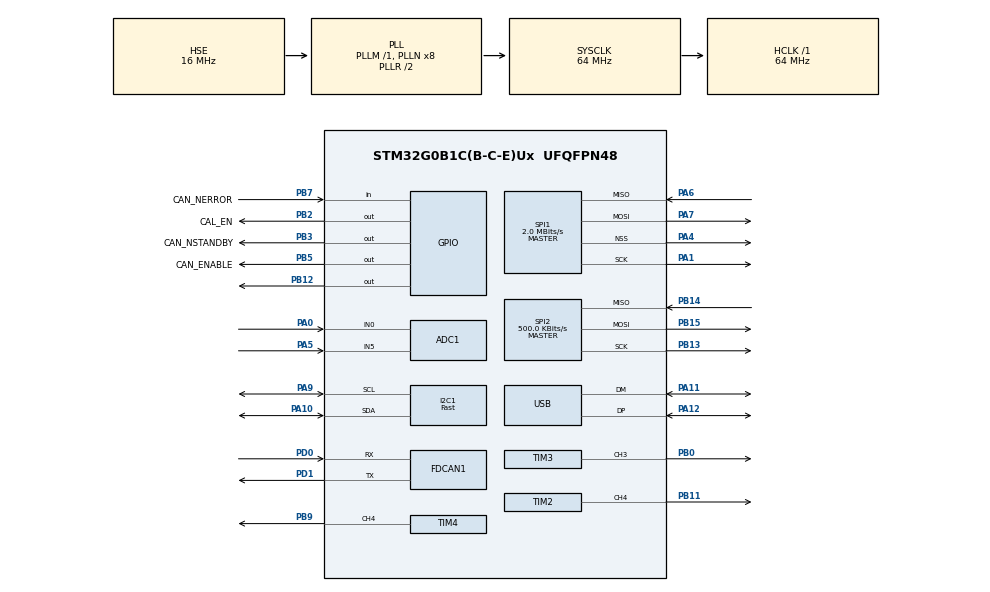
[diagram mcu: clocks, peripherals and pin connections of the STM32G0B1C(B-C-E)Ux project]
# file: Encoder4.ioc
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ADC1.Channel-0\#ChannelRegularConversion=ADC_CHANNEL_0
ADC1.ContinuousConvMode=ENABLE
ADC1.NbrOfConversionFlag=1
ADC1.Rank-0\#ChannelRegularConversion=1
ADC1.SamplingTime-0\#ChannelRegularConversion=ADC_SAMPLINGTIME_COMMON_1
ADC1.SelectedChannel=ADC_CHANNEL_0|ADC_CHANNEL_5
ADC1.master=1
FDCAN1.AutoRetransmission=ENABLE
FDCAN1.CalculateBaudRateNominal=1000000
FDCAN1.CalculateTimeBitNominal=1000
FDCAN1.CalculateTimeQuantumNominal=15.625
FDCAN1.ClockDivider=FDCAN_CLOCK_DIV1
FDCAN1.DataPrescaler=1
FDCAN1.DataTimeSeg1=32
FDCAN1.DataTimeSeg2=3
FDCAN1.ExtFiltersNbr=2
FDCAN1.FrameFormat=FDCAN_FRAME_CLASSIC
FDCAN1.Mode=FDCAN_MODE_NORMAL
FDCAN1.NominalPrescaler=1
FDCAN1.NominalSyncJumpWidth=31
FDCAN1.NominalTimeSeg1=54
FDCAN1.NominalTimeSeg2=9
FDCAN1.StdFiltersNbr=0
I2C1.I2C_Speed_Mode=I2C_Fast
I2C1.Timing=0x00C12166
Mcu.Family=STM32G0
Mcu.Name=STM32G0B1C(B-C-E)Ux
Mcu.Package=UFQFPN48
NVIC.TIM16_FDCAN_IT0_IRQn=true\:0\:0\:false\:false\:true\:true\:true\:true
PA0.Mode=IN0
PA0.Signal=ADC1_IN0
PA1.Mode=Full_Duplex_Master
PA1.Signal=SPI1_SCK
PA10.Mode=I2C
PA10.Signal=I2C1_SDA
PA11\ [PA9].Mode=Device
PA11\ [PA9].Signal=USB_DM
PA12\ [PA10].Mode=Device
PA12\ [PA10].Signal=USB_DP
PA13.Mode=Serial_Wire
PA13.Signal=SYS_SWDIO
PA14-BOOT0.Mode=Serial_Wire
PA14-BOOT0.Signal=SYS_SWCLK
PA4.Mode=NSS_Signal_Hard_Output
PA4.Signal=SPI1_NSS
PA5.Mode=IN5
PA5.Signal=ADC1_IN5
PA6.Mode=Full_Duplex_Master
PA6.Signal=SPI1_MISO
PA7.Mode=Full_Duplex_Master
PA7.Signal=SPI1_MOSI
PA9.Mode=I2C
PA9.Signal=I2C1_SCL
PB0.Signal=S_TIM3_CH3
PB11.Signal=S_TIM2_CH4
PB12.Signal=GPIO_Output
PB13.Mode=Full_Duplex_Master
PB13.Signal=SPI2_SCK
PB14.Mode=Full_Duplex_Master
PB14.Signal=SPI2_MISO
PB15.Mode=Full_Duplex_Master
PB15.PinState=GPIO_PIN_RESET
PB15.Signal=SPI2_MOSI
PB2.GPIO_Label=CAL_EN
PB2.Signal=GPIO_Output
PB3.GPIO_Label=CAN_NSTANDBY
PB3.Signal=GPIO_Output
PB5.GPIO_Label=CAN_ENABLE
PB5.Signal=GPIO_Output
PB7.GPIO_Label=CAN_NERROR
PB7.Signal=GPIO_Input
PB9.Signal=S_TIM4_CH4
PD0.Mode=FDCAN_Activate
PD0.Signal=FDCAN1_RX
PD1.Mode=FDCAN_Activate
PD1.Signal=FDCAN1_TX
PF0-OSC_IN\ (PF0).Mode=HSE-External-Oscillator
PF0-OSC_IN\ (PF0).Signal=RCC_OSC_IN
PF1-OSC_OUT\ (PF1).Mode=HSE-External-Oscillator
PF1-OSC_OUT\ (PF1).Signal=RCC_OSC_OUT
ProjectManager.HeapSize=0x200
ProjectManager.StackSize=0x400
ProjectManager.TargetToolchain=STM32CubeIDE
RCC.ADCFreq_Value=64000000
RCC.AHBFreq_Value=64000000
RCC.CortexFreq_Value=64000000
RCC.EXTERNAL_CLOCK_VALUE=48000
RCC.HCLKFreq_Value=64000000
RCC.HSE_VALUE=16000000
RCC.HSI48_VALUE=48000000
RCC.HSI_VALUE=16000000
RCC.LSE_VALUE=32768
RCC.PLLSourceVirtual=RCC_PLLSOURCE_HSE
RCC.SYSCLKFreq_VALUE=64000000
RCC.SYSCLKSource=RCC_SYSCLKSOURCE_PLLCLK
RCC.USBFreq_Value=48000000
RCC.VCOOutputFreq_Value=128000000
SH.S_TIM2_CH4.0=TIM2_CH4,PWM Generation4 CH4
SH.S_TIM3_CH3.0=TIM3_CH3,PWM Generation3 CH3
SH.S_TIM4_CH4.0=TIM4_CH4,PWM Generation4 CH4
SPI1.BaudRatePrescaler=SPI_BAUDRATEPRESCALER_32
SPI1.CLKPhase=SPI_PHASE_2EDGE
SPI1.CLKPolarity=SPI_POLARITY_HIGH
SPI1.CRCCalculation=SPI_CRCCALCULATION_DISABLE
SPI1.CalculateBaudRate=2.0 MBits/s
SPI1.DataSize=SPI_DATASIZE_8BIT
SPI1.Direction=SPI_DIRECTION_2LINES
SPI1.Mode=SPI_MODE_MASTER
SPI1.VirtualNSS=VM_NSSHARD
SPI1.VirtualType=VM_MASTER
SPI2.BaudRatePrescaler=SPI_BAUDRATEPRESCALER_128
SPI2.CLKPhase=SPI_PHASE_2EDGE
SPI2.CLKPolarity=SPI_POLARITY_HIGH
SPI2.CalculateBaudRate=500.0 KBits/s
SPI2.DataSize=SPI_DATASIZE_8BIT
SPI2.Direction=SPI_DIRECTION_2LINES
SPI2.Mode=SPI_MODE_MASTER
SPI2.VirtualType=VM_MASTER
TIM2.Channel-PWM\ Generation4\ CH4=TIM_CHANNEL_4
TIM2.Period=255-1
TIM2.Prescaler=1600-1
TIM3.Channel-PWM\ Generation3\ CH3=TIM_CHANNEL_3
TIM3.Period=255-1
TIM3.Prescaler=1600-1
TIM4.Channel-PWM\ Generation4\ CH4=TIM_CHANNEL_4
TIM4.Period=255-1
TIM4.Prescaler=1600-1
VP_SYS_VS_DBSignals.Mode=DisableDeadBatterySignals
VP_TIM3_VS_ClockSourceINT.Mode=Internal
VP_TIM4_VS_ClockSourceINT.Mode=Internal
board=custom

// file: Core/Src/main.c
/**
 ******************************************************************************
 * @file           : main.c
 * @brief          : Main program body
 ******************************************************************************
 * @attention
 *
 * Copyright (c) 2024 STMicroelectronics.
 * All rights reserved.
 *
 * This software is licensed under terms that can be found in the LICENSE file
 * in the root directory of this software component.
 * If no LICENSE file comes with this software, it is provided AS-IS.
 *
 ******************************************************************************
 */
/* USER CODE END Header */
#include "main.h"

/* USER CODE BEGIN Includes */
#include "rgb_led.h"
#include "MT6835.h"
#include "vl53l0x_api.h"
#include "non_blocking_morse.h"
#include "error_blink.h"
#include "flex_encoder.h"
#include "flash_config.h"
#include "vertos_calculations.h"

#include "stm32g0xx_hal_flash.h"
/* USER CODE END Includes */

/* USER CODE END PD */

ADC_HandleTypeDef hadc1;

FDCAN_HandleTypeDef hfdcan1;

I2C_HandleTypeDef hi2c1;

SPI_HandleTypeDef hspi1;
SPI_HandleTypeDef hspi2;

TIM_HandleTypeDef htim2;
TIM_HandleTypeDef htim3;
TIM_HandleTypeDef htim4;

PCD_HandleTypeDef hpcd_USB_DRD_FS;

/* USER CODE BEGIN PV */
float encAngle = 0.0;
int numTimeout = 0;
int numHAL_Error = 0;

int sensorMode = 0;
const int CPR = 2097152; // 2 ^ 21
const int BASE_ID = 0xA110000;
int device_id_index = 0x40;

const int POSITION_API_ID = 0;          // API ID for position data (8 bytes - 64-bit counts)
const int VELOCITY_ACCEL_API_ID = 1;   // API ID for combined velocity/acceleration data (8 bytes)
const int BOOLEAN_STATUS_API_ID = 2;   // API ID for boolean status messages (1 byte)

int device_id = 0;
int pooptest = 1;
int proxMode = 0;
int towr = 0;
int encoder_ready = 0;

uint32_t flashAddress = 0x0803F010;  // Example address in Flash memory
uint64_t writeData;

// Global variable to track the last heartbeat time (in milliseconds)
volatile uint32_t lastHeartbeatTime = 0;

// Define the timeout period (e.g., 1000 ms = 1 second)
#define HEARTBEAT_TIMEOUT 1000
#define ROBORIO_CAN_ID 0x01011840

// At the top of main.c, define a backup register or flash address for the sticky flag
#define RESET_STICKY_FLAG_ADDR 0x0803F020 // Example flash address

const int TARGET_LOOP_TIME = 10; // ms

// Advanced derivative calculation variables
double sensorVelocityRPS = 0.0;
double sensorAccel = 0.0;

//--------------------------------------------------------------------------------
// Dynamic Linear Regression Configuration
//--------------------------------------------------------------------------------
// Store current sample
// Simple backward difference velocity calculation with low-pass filtering

// Boolean status variables (8 different boolean messages)
int isHardwareFault = 0;         // Bit 0: hardware fault status
int isLoopOverrun = 0;           // Bit 1: loop overrun status
int isCANInvalid = 0;            // Bit 2: CAN communication status
int isResetDuringEnable = 0;      // Bit 3: reset during enable status
int isMagnetWeakSignal = 0;       // Bit 4: magnet weak signal status
int isRotationOverspeed = 0;     // Bit 5: rotation overspeed status
int isCANClogged = 0;            // Bit 6: CAN bus clogged status
int isUnderVolted = 0;           // Bit 7: under-voltage status

static int mt6835_error_count = 0;

static int can_error_count = 0;
static const int CAN_ERROR_THRESHOLD = 5;  // Allow 5 failed sends before marking as clogged
static uint32_t lastCanSendTime = 0;
static const uint32_t CAN_SEND_INTERVAL = 20;  // Send every 20ms (50Hz) instead of every loop
static uint32_t lastCanHealthCheck = 0;

/* USER CODE END PV */

void SystemClock_Config(void);
static void MX_GPIO_Init(void);
static void MX_FDCAN1_Init(void);
static void MX_SPI1_Init(void);
static void MX_ADC1_Init(void);
static void MX_TIM3_Init(void);
static void MX_TIM4_Init(void);
static void MX_I2C1_Init(void);
static void MX_USB_DRD_FS_PCD_Init(void);
static void MX_TIM2_Init(void);
static void MX_SPI2_Init(void);

/* USER CODE BEGIN PFP */

// Function prototypes for velocity calculation API
int setVelocityCalculationSamples(int samples);
int getVelocityCalculationSamples(void);
int getMaxVelocityCalculationSamples(void);
int getMinVelocityCalculationSamples(void);
int getVelocityCalculationInfo(int samples, uint32_t* timeSpanMs, int* noiseReduction);

// ADD THESE MISSING PROTOTYPES:
void reset_counts(void);
void invert_encoder_direction(int direction);
void set_counts(int64_t newPosition);
void set_encoder_direction(int direction);
void reset_all_faults(void);
void txHeaderConfigure(FDCAN_TxHeaderTypeDef* header);
void txHeaderConfigureBooleanStatus(FDCAN_TxHeaderTypeDef* header);
void rxHeaderConfigure(FDCAN_RxHeaderTypeDef* header);  // Add this missing prototype
int was_reset_during_enable(void);
void clear_reset_sticky_flag(void);
void set_reset_sticky_flag(void);
int get_weak_magnetic_field_warning(void);
int get_under_voltage_warning(void);
int get_rotation_overspeed_warning(void);
int64_t get_counts_multi_turn(void);
uint32_t get_counts_single_turn(void);
HAL_StatusTypeDef recover_can_bus(void);
int check_can_bus_health(void);
void set_led_hue(float hue, float brightness);
void set_led_rgb(uint8_t r, uint8_t g, uint8_t b);
void handle_error_blink(const char* pattern, float hue);

/* USER CODE END PFP */

/* USER CODE BEGIN 0 */
uint8_t buffer[64] = { 0 };
uint32_t cdcRxLen = 0;

FDCAN_TxHeaderTypeDef TxHeaderPosition;
FDCAN_TxHeaderTypeDef TxHeaderVelocityAccel;
FDCAN_TxHeaderTypeDef TxHeaderBooleanStatus;  // New header for boolean status
FDCAN_RxHeaderTypeDef RxHeader;

uint8_t TxDataPosition[8] = { 0 };
uint8_t TxDataVelocityAccel[8] = { 0 };  // Combined velocity and acceleration (8 bytes)
uint8_t TxDataBooleanStatus[1] = { 0 };  // Boolean status data (1 byte)
uint8_t RxData[64] = { 0 };

int indx = 0;
uint8_t count = 0;

#define device_id           flash_get_device_id()
#define velocity_alpha      flash_get_velocity_alpha()
#define accel_alpha         flash_get_accel_alpha()

// Function to update filter values in real-time
void update_filter_settings(float vel_alpha, float acc_alpha) {
  flash_set_velocity_alpha(vel_alpha);
  flash_set_accel_alpha(acc_alpha);
}

/***************************************************************************************************
 *
 *   HAL_FDCAN_RxFifo0Callback()
 *
 **************************************************************************************************/
void HAL_FDCAN_RxFifo0Callback(FDCAN_HandleTypeDef *hfdcan, uint32_t RxFifo0ITs) {
  if ((RxFifo0ITs & FDCAN_IT_RX_FIFO0_NEW_MESSAGE) != RESET) {
    if (HAL_FDCAN_GetRxMessage(hfdcan, FDCAN_RX_FIFO0, &RxHeader, RxData) != HAL_OK) {
      Error_Handler();
    }

    if (HAL_FDCAN_ActivateNotification(hfdcan, FDCAN_IT_RX_FIFO0_NEW_MESSAGE, 0) != HAL_OK) {
      Error_Handler();
    }

    // Heartbeat from RoboRIO (special case)
    if (RxHeader.Identifier == ROBORIO_CAN_ID) {
      lastHeartbeatTime = HAL_GetTick();
      return;
    }

    // Parse WPILib CAN Extended ID
    // 29 bits: [28:24] Manufacturer | [23:16] Device Type | [15:10] API ID | [9:6] Device ID | [5:0] Reserved
    uint32_t identifier = RxHeader.Identifier;
    uint8_t manufacturer = (identifier >> 24) & 0x1F;        // Bits 28:24 (5 bits)
    uint8_t device_type = (identifier >> 16) & 0xFF;         // Bits 23:16 (8 bits)
    uint8_t api_id = (identifier >> 10) & 0x3F;              // Bits 15:10 (6 bits)
    uint8_t device_id_received = (identifier >> 6) & 0x0F;   // Bits 9:6 (4 bits)
    uint8_t reserved = identifier & 0x3F;                    // Bits 5:0 (6 bits)

    // Check if this message is for us (our manufacturer and device ID)
    if (manufacturer != 17 || device_type != 10 || device_id_received != flash_get_device_id()) {
      return; // Not for us, ignore
    }

    switch (api_id) {
      case 0x00: // Set device ID
        if (RxHeader.DataLength >= 1) {
          uint8_t new_device_id = RxData[0];
          if (new_device_id <= 15) { // Valid device ID range
            flash_set_device_id(new_device_id);
            // Update all TX header identifiers with new device ID
            uint32_t baseCanId = BASE_ID + new_device_id;
            TxHeaderPosition.Identifier = baseCanId | (POSITION_API_ID << 6);
            TxHeaderVelocityAccel.Identifier = baseCanId | (VELOCITY_ACCEL_API_ID << 6);
            TxHeaderBooleanStatus.Identifier = baseCanId | (BOOLEAN_STATUS_API_ID << 6);
          }
        }
        break;

      case 0x01: // Reset encoder position
        reset_counts();
        break;

      case 0x02: // Set encoder direction
        if (RxHeader.DataLength >= 1) {
          int direction = (RxData[0] != 0) ? 1 : 0;
          flash_set_encoder_direction(direction);
          set_encoder_direction(direction);
        }
        break;

      case 0x03: // Set absolute position
        if (RxHeader.DataLength == 8) {
          int64_t newCounts = ((int64_t)RxData[0] << 56) |
                              ((int64_t)RxData[1] << 48) |
                              ((int64_t)RxData[2] << 40) |
                              ((int64_t)RxData[3] << 32) |
                              ((int64_t)RxData[4] << 24) |
                              ((int64_t)RxData[5] << 16) |
                              ((int64_t)RxData[6] << 8) |
                              ((int64_t)RxData[7]);
          set_counts(newCounts);
        }
        break;

      case 0x04: // Factory reset
        if (RxHeader.DataLength >= 1 && RxData[0] == 0xAA) { // Require confirmation byte
          flash_factory_reset();
          reset_counts();
          set_encoder_direction(0);
        }
        break;

      case 0x05: // Query device info
        {
          // Send device UID response
          uint32_t uid[3];
          uid[0] = HAL_GetUIDw0();
          uid[1] = HAL_GetUIDw1();
          uid[2] = HAL_GetUIDw2();

          uint8_t responseData[8];
          responseData[0] = flash_get_device_id();
          responseData[1] = (uint8_t)(uid[0] >> 24);
          responseData[2] = (uint8_t)(uid[0] >> 16);
          responseData[3] = (uint8_t)(uid[0] >> 8);
          responseData[4] = (uint8_t)(uid[0]);
          responseData[5] = 0x01; // Firmware version major
          responseData[6] = 0x00; // Firmware version minor
          responseData[7] = 0x00; // Status flags

          // Send response using position header temporarily
          FDCAN_TxHeaderTypeDef tempHeader = TxHeaderPosition;
          tempHeader.Identifier = BASE_ID + flash_get_device_id() | (0x06 << 6); // Response API ID
          HAL_FDCAN_AddMessageToTxFifoQ(&hfdcan1, &tempHeader, responseData);
        }
        break;

      case 0x10: // Set velocity filter alpha
        if (RxHeader.DataLength == 4) {
          float new_alpha;
          memcpy(&new_alpha, RxData, sizeof(float));
          if (new_alpha >= 0.0f && new_alpha <= 1.0f) {
            flash_set_velocity_alpha(new_alpha);
          }
        }
        break;

      case 0x11: // Set acceleration filter alpha
        if (RxHeader.DataLength == 4) {
          float new_alpha;
          memcpy(&new_alpha, RxData, sizeof(float));
          if (new_alpha >= 0.0f && new_alpha <= 1.0f) {
            flash_set_accel_alpha(new_alpha);
          }
        }
        break;

      case 0x20: // Clear all faults
        if (RxHeader.DataLength >= 1 && RxData[0] == 0x55) { // Require confirmation byte
          can_error_count = 0;
          mt6835_error_count = 0;
          isHardwareFault = 0;
          isLoopOverrun = 0;
          isCANInvalid = 0;
          isCANClogged = 0;
          isMagnetWeakSignal = 0;
          isRotationOverspeed = 0;
          isUnderVolted = 0;
          isResetDuringEnable = 0;
        }
        break;

      default:
        // Unknown API ID, ignore
        break;
    }
  }
}

/**
 * @brief Attempt to recover CAN bus communication
 * @retval HAL_StatusTypeDef
 */
HAL_StatusTypeDef recover_can_bus(void) {
    // Stop FDCAN
    HAL_FDCAN_Stop(&hfdcan1);

    // Reset CAN transceiver
    HAL_GPIO_WritePin(CAN_ENABLE_GPIO_Port, CAN_ENABLE_Pin, GPIO_PIN_RESET);
    HAL_GPIO_WritePin(CAN_NSTANDBY_GPIO_Port, CAN_NSTANDBY_Pin, GPIO_PIN_RESET);
    HAL_Delay(100);  // Longer delay for complete reset

    // Re-enable CAN transceiver
    HAL_GPIO_WritePin(CAN_NSTANDBY_GPIO_Port, CAN_NSTANDBY_Pin, GPIO_PIN_SET);
    HAL_GPIO_WritePin(CAN_ENABLE_GPIO_Port, CAN_ENABLE_Pin, GPIO_PIN_SET);
    HAL_Delay(50);

    // Restart FDCAN
    if (HAL_FDCAN_Start(&hfdcan1) != HAL_OK) {
        return HAL_ERROR;
    }

    // Reactivate notifications
    if (HAL_FDCAN_ActivateNotification(&hfdcan1, FDCAN_IT_RX_FIFO0_NEW_MESSAGE, 0) != HAL_OK) {
        return HAL_ERROR;
    }

    return HAL_OK;
}

// ...existing code...
/**
 * @brief Check CAN bus health and detect disconnections
 * @retval 1 if bus error detected, 0 if OK
 */
int check_can_bus_health(void) {
    // Check CAN error status
    FDCAN_ProtocolStatusTypeDef protocolStatus;
    if (HAL_FDCAN_GetProtocolStatus(&hfdcan1, &protocolStatus) == HAL_OK) {
        // Check for bus-off condition
        if (protocolStatus.BusOff == 1) {
            return 1; // Bus error detected
        }
    }

    // Check transceiver error pin
    if (HAL_GPIO_ReadPin(CAN_NERROR_GPIO_Port, CAN_NERROR_Pin) == GPIO_PIN_RESET) {
        return 1; // Transceiver error
    }

    return 0; // Bus OK
}

/* USER CODE END 0 */

int main(void) {
  /* USER CODE BEGIN 1 */
  HAL_StatusTypeDef positionCanStatus = HAL_ERROR;
  HAL_StatusTypeDef velocityAccelCanStatus = HAL_ERROR;
  HAL_StatusTypeDef booleanStatusCanStatus = HAL_ERROR;  // New status for boolean messages

  /* USER CODE END 1 */

  /* MCU Configuration--------------------------------------------------------*/

  /* Reset of all peripherals, Initializes the Flash interface and the Systick. */
  HAL_Init();

  /* Configure the system clock */
  SystemClock_Config();

  /* Initialize all configured peripherals */
  MX_GPIO_Init();
  MX_FDCAN1_Init();
  MX_SPI1_Init();
  MX_ADC1_Init();
  MX_TIM3_Init();
  MX_TIM4_Init();
  MX_I2C1_Init();
  MX_USB_DRD_FS_PCD_Init();
  MX_TIM2_Init();
  MX_SPI2_Init();
  /* USER CODE BEGIN 2 */

  // Read back from Flash
  uint64_t readData = *((uint64_t*) flashAddress);

  if (flash_config_init() != HAL_OK) {
    // Flash initialization failed - use defaults but continue
    Error_Handler();
  }

  flash_increment_boot_count();

  if (HAL_FDCAN_Start(&hfdcan1) != HAL_OK) {
    Error_Handler();
    isCANInvalid = 1;  // CAN initialization failed
  } else {
    isCANInvalid = 0;  // CAN initialization successful
  }

  if (HAL_FDCAN_ActivateNotification(&hfdcan1, FDCAN_IT_RX_FIFO0_NEW_MESSAGE, 0) != HAL_OK) {
    Error_Handler();
  }

  if ((uint32_t) readData == 0xffffffff) {
    TxHeaderPosition.Identifier = BASE_ID;
  } else {
    TxHeaderPosition.Identifier = (uint32_t) readData;
  }

  TxHeaderPosition.Identifier = BASE_ID + flash_get_device_id();

  // Configure position message header (8 bytes)
  txHeaderConfigure(&TxHeaderPosition);
  // Configure velocity/acceleration message header (8 bytes)
  txHeaderConfigure(&TxHeaderVelocityAccel);
  // Configure boolean status message header (1 byte)
  txHeaderConfigureBooleanStatus(&TxHeaderBooleanStatus);

  rxHeaderConfigure(&RxHeader);

  HAL_TIM_PWM_Start(&htim2, TIM_CHANNEL_4);
  HAL_TIM_PWM_Start(&htim3, TIM_CHANNEL_3);
  HAL_TIM_PWM_Start(&htim4, TIM_CHANNEL_4);

  // ADC
  HAL_ADC_Start(&hadc1);

  // start CAN IC
  // Enable CAN transceiver by setting EN and STB_N HIGH
  HAL_GPIO_WritePin(CAN_ENABLE_GPIO_Port, CAN_ENABLE_Pin, GPIO_PIN_SET); // EN HIGH
  HAL_GPIO_WritePin(CAN_NSTANDBY_GPIO_Port, CAN_NSTANDBY_Pin, GPIO_PIN_SET); // STB_N HIGH

  // Check if ERR_N is low, indicating an error or flag set
  int err_flag = HAL_GPIO_ReadPin(CAN_NERROR_GPIO_Port, CAN_NERROR_Pin);

  if (err_flag == GPIO_PIN_RESET) { // ERR_N is LOW
    // Clear flags by toggling STB_N or EN based on the datasheet
    HAL_GPIO_WritePin(CAN_NSTANDBY_GPIO_Port, CAN_NSTANDBY_Pin, GPIO_PIN_RESET); // STB_N LOW
    HAL_Delay(10); // Allow some stabilization time
    HAL_GPIO_WritePin(CAN_NSTANDBY_GPIO_Port, CAN_NSTANDBY_Pin, GPIO_PIN_SET);   // STB_N HIGH

    // Optionally toggle EN if STB_N toggle doesn't clear the flag
    HAL_GPIO_WritePin(CAN_ENABLE_GPIO_Port, CAN_ENABLE_Pin, GPIO_PIN_RESET); // EN LOW
    HAL_Delay(10); // Allow stabilization
    HAL_GPIO_WritePin(CAN_ENABLE_GPIO_Port, CAN_ENABLE_Pin, GPIO_PIN_SET); // EN HIGH
  }

  if (mt6835_update_counts(&hspi1) == HAL_OK) {
    // Wait for a few successful reads before declaring ready
    for (int i = 0; i < 10; i++) {
      if (mt6835_update_counts(&hspi1) == HAL_OK) {
        HAL_Delay(10);
      } else {
        break;
      }
    }
    encoder_ready = 1;
  }
  vertos_calculations_init();

  pooptest = 1;
  // Set the flag ONCE to detect future resets
  flash_set_reset_sticky_flag(0xDEADBEEF);
  /* USER CODE END 2 */

  /* Infinite loop */
  /* USER CODE BEGIN WHILE */
  while (1) {
  uint32_t currentTimeMillisec = HAL_GetTick();

  uint32_t baseCanId = BASE_ID + device_id;

//  if (pooptest == 1) {
//    pooptest = 2;
//    flash_set_test_array_u32_value(2, 1234);
//  }
//
//  if(pooptest == 2) {
//    flash_set_test_array_u32_value(1, 02);
//  }

    //----------------------------------------------------------------------------------------------------------
    // Read the multi-turn counts and single-turn counts
    //----------------------------------------------------------------------------------------------------------
    int64_t multiTurnCounts = get_counts_multi_turn();
    uint32_t singleTurnCounts = get_counts_single_turn();

    if (encoder_ready == 1) {
      // Single encoder update call per loop
      if (mt6835_update_counts(&hspi1) == HAL_OK) {

      // Pack multi-turn counts directly as 64-bit value (8 bytes, big-endian)
      TxDataPosition[0] = (uint8_t)(multiTurnCounts >> 56);  // MSB
      TxDataPosition[1] = (uint8_t)(multiTurnCounts >> 48);
      TxDataPosition[2] = (uint8_t)(multiTurnCounts >> 40);
      TxDataPosition[3] = (uint8_t)(multiTurnCounts >> 32);
      TxDataPosition[4] = (uint8_t)(multiTurnCounts >> 24);
      TxDataPosition[5] = (uint8_t)(multiTurnCounts >> 16);
      TxDataPosition[6] = (uint8_t)(multiTurnCounts >> 8);
      TxDataPosition[7] = (uint8_t)(multiTurnCounts);        // LSB

      int flexEncoderMode = 1;

      //-----------------------------------------------------------------------------------------------------------
      // Dynamic Linear Regression velocity and acceleration calculations
      //-----------------------------------------------------------------------------------------------------------

      // Update calculations with new encoder data
      vertos_calculations_update(multiTurnCounts, currentTimeMillisec);

      // Use the results from the calculation
      int32_t velocityCountsScaled = vertos_calculations_get_velocity_scaled();
      int32_t accelCountsScaled = vertos_calculations_get_acceleration_scaled();

      TxDataBooleanStatus[0] = 0;  // Start with empty byte: 00000000
      TxDataBooleanStatus[0] |= (isHardwareFault & 0x01) << 0;       // Add bit 0
      TxDataBooleanStatus[0] |= (isLoopOverrun & 0x01) << 1;         // Add bit 1
      TxDataBooleanStatus[0] |= (isCANInvalid & 0x01) << 2;          // Add bit 2
      TxDataBooleanStatus[0] |= (isResetDuringEnable & 0x01) << 3;   // Add bit 3
      TxDataBooleanStatus[0] |= (isMagnetWeakSignal & 0x01) << 4;    // Add bit 4
      TxDataBooleanStatus[0] |= (isRotationOverspeed & 0x01) << 5;   // Add bit 5
      TxDataBooleanStatus[0] |= (isCANClogged & 0x01) << 6;          // Add bit 6
      TxDataBooleanStatus[0] |= (isUnderVolted & 0x01) << 7;         // Add bit 7

      // Pack combined velocity and acceleration as 8 bytes (4 bytes velocity + 4 bytes acceleration, both 32-bit signed)
      // Big-endian format
      TxDataVelocityAccel[0] = (uint8_t)(velocityCountsScaled >> 24);    // Use scaled values
      TxDataVelocityAccel[1] = (uint8_t)(velocityCountsScaled >> 16);
      TxDataVelocityAccel[2] = (uint8_t)(velocityCountsScaled >> 8);
      TxDataVelocityAccel[3] = (uint8_t)(velocityCountsScaled);          // Velocity LSB
      TxDataVelocityAccel[4] = (uint8_t)(accelCountsScaled >> 24);       // Use scaled values
      TxDataVelocityAccel[5] = (uint8_t)(accelCountsScaled >> 16);
      TxDataVelocityAccel[6] = (uint8_t)(accelCountsScaled >> 8);
      TxDataVelocityAccel[7] = (uint8_t)(accelCountsScaled);             // Acceleration LSB

      // Position message: embed API ID 0 in the CAN arbitration ID (8 bytes - raw counts)
      TxHeaderPosition.Identifier = baseCanId | (POSITION_API_ID << 6);           // API 0: baseCanId | 0x000
      // Combined velocity/acceleration message: embed API ID 1 in the CAN arbitration ID (8 bytes)
      TxHeaderVelocityAccel.Identifier = baseCanId | (VELOCITY_ACCEL_API_ID << 6); // API 1: baseCanId | 0x040
      // Boolean status message: embed API ID 2 in the CAN arbitration ID (1 byte)
      TxHeaderBooleanStatus.Identifier = baseCanId | (BOOLEAN_STATUS_API_ID << 6); // API 2: baseCanId | 0x080

      // returns HAL_Error if fifo queue is full or CAN is not initialized correctly
      // HAL_OK otherwise
      // Replace your CAN sending section with this:
      if ((currentTimeMillisec - lastCanSendTime) >= CAN_SEND_INTERVAL) {
          uint32_t freeLevel = HAL_FDCAN_GetTxFifoFreeLevel(&hfdcan1);

          if (freeLevel >= 3) {
              positionCanStatus = HAL_FDCAN_AddMessageToTxFifoQ(&hfdcan1, &TxHeaderPosition, TxDataPosition);
              velocityAccelCanStatus = HAL_FDCAN_AddMessageToTxFifoQ(&hfdcan1, &TxHeaderVelocityAccel, TxDataVelocityAccel);
              booleanStatusCanStatus = HAL_FDCAN_AddMessageToTxFifoQ(&hfdcan1, &TxHeaderBooleanStatus, TxDataBooleanStatus);
          } else {
              positionCanStatus = HAL_ERROR;
              velocityAccelCanStatus = HAL_ERROR;
              booleanStatusCanStatus = HAL_ERROR;
          }

          lastCanSendTime = currentTimeMillisec;
      }

      } else {
      // Encoder read failed while ready - handle gracefully
      mt6835_error_count++;
      if (mt6835_error_count > 10) { // Higher threshold
        encoder_ready = 0; // Mark as not ready
        isHardwareFault = 1;
      }

      // Set error status but don't flood CAN
      positionCanStatus = HAL_ERROR;
      velocityAccelCanStatus = HAL_ERROR;
      booleanStatusCanStatus = HAL_ERROR;
      }
    } else {
      static uint32_t lastInitAttempt = 0;

      // Only try initialization every 100ms to avoid overwhelming the SPI bus
      if ((currentTimeMillisec - lastInitAttempt) >= 100) {
      if (mt6835_update_counts(&hspi1) == HAL_OK) {
        // Need multiple consecutive successful reads
        int success_count = 0;
        for (int i = 0; i < 5; i++) {
        HAL_Delay(2); // Small delay between reads
        if (mt6835_update_counts(&hspi1) == HAL_OK) {
          success_count++;
        } else {
          break;
        }
        }

        if (success_count >= 5) {
        encoder_ready = 1;
        mt6835_error_count = 0;

        // Reset velocity calculation state
        }
      }
      lastInitAttempt = currentTimeMillisec;
      }

      // Set error status for CAN
      positionCanStatus = HAL_ERROR;
      velocityAccelCanStatus = HAL_ERROR;
      booleanStatusCanStatus = HAL_ERROR;
    }

    //------------------------------------------------------------------------------------------------------------------------
    //  Error handling and status updates
    //--------------------------------------------------------------------------------------------------------
    // Only check for clogging if we actually tried to send messages
    // Update error handling:
    if (encoder_ready == 1) {
        if (positionCanStatus != HAL_OK || velocityAccelCanStatus != HAL_OK || booleanStatusCanStatus != HAL_OK) {
            can_error_count++;

            if (can_error_count > CAN_ERROR_THRESHOLD) {
                if ((currentTimeMillisec - lastHeartbeatTime) > HEARTBEAT_TIMEOUT) {
                    isCANInvalid = 1;

                    // Attempt CAN recovery every 5 seconds
                    static uint32_t lastRecoveryAttempt = 0;
                    if ((currentTimeMillisec - lastRecoveryAttempt) >= 5000) {
                        if (recover_can_bus() == HAL_OK) {
                            can_error_count = 0;
                            isCANInvalid = 0;
                            isCANClogged = 0;
                            lastHeartbeatTime = currentTimeMillisec; // Reset heartbeat timeout
                        }
                        lastRecoveryAttempt = currentTimeMillisec;
                    }
                } else {
                    isCANClogged = 1;
                }
            }
        } else {
            can_error_count = 0;
            isCANInvalid = 0;
            isCANClogged = 0;
        }
    }

    if ((currentTimeMillisec - lastCanHealthCheck) >= 1000) { // Check every 1 second
        if (check_can_bus_health()) {
            // Force CAN recovery attempt
            if (recover_can_bus() == HAL_OK) {
                can_error_count = 0;
                isCANInvalid = 0;
                isCANClogged = 0;
            }
        }
        lastCanHealthCheck = currentTimeMillisec;
    }

    if(get_weak_magnetic_field_warning() == 1) {
      isMagnetWeakSignal = 1;  // Magnet is not in ideal range
    } else {
      isMagnetWeakSignal = 0;  // Magnet is in ideal range
    }

    if(get_under_voltage_warning() == 1) {
      isUnderVolted = 1;  // System is under-volted
    } else {
      isUnderVolted = 0;  // System is not under-volted
    }

    if(get_rotation_overspeed_warning() == 1) {
      isRotationOverspeed = 1;  // Rotation is overspeed
    } else {
      isRotationOverspeed = 0;  // Rotation is not overspeed
    }

    if (mt6835_update_counts(&hspi1) != HAL_OK) {
      mt6835_error_count++;
      if (mt6835_error_count > 5) { // threshold for hardware fault
        isHardwareFault = 1;
      }
    } else {
      mt6835_error_count = 0;
      isHardwareFault = 0;
    }

    // LED status logic for all boolean statuses
    if (isHardwareFault == 1) {
      handle_error_blink("SOS", 0.0f); // Red - Hardware fault (emergency) - SOS
    } else if (isLoopOverrun == 1) {
      handle_error_blink("M", 0.16f); // Yellow - Overrun - M (dash-dash)
    } else if (isUnderVolted == 1) {
      handle_error_blink("I", 0.16f); // Yellow - Under voltage - I (dot-dot)
    } else if (isRotationOverspeed == 1) {
      handle_error_blink("S", 0.16f); // Yellow - Rotation Overspeed - S (dot-dot-dot)
    } else if (isCANInvalid == 1) {
      handle_error_blink("H", 0.83f); // Purple - CAN Invalid - H (dot-dot-dot-dot)
    } else if (isCANClogged == 1) {
      handle_error_blink("5", 0.83f); // Purple - CAN Clogged - 5 (dot-dot-dot-dot-dot)
    } else if (isResetDuringEnable == 1) {
      handle_error_blink("O", 0.01f); // Orange - Reset during enable - O (dash-dash-dash)
    } else if (isMagnetWeakSignal == 1) {
      handle_error_blink("0", 0.01f); // Orange - Magnet Weak Signal - 0 (dash-dash-dash-dash-dash)
    } else {
      // Normal operation: position-based hue
      set_led_hue((float)singleTurnCounts / CPR, 1.0);
    }

    // currentTime is time at START of the loop
    uint32_t loopTime = HAL_GetTick() - currentTimeMillisec;
    if (loopTime > TARGET_LOOP_TIME) {
      isLoopOverrun = 1;  // Set loop overrun status
    } else {
      isLoopOverrun = 0;  // Clear loop overrun status
    }

  }
    /* USER CODE END WHILE */

}

void SystemClock_Config(void) {
  RCC_OscInitTypeDef RCC_OscInitStruct = {0};
  RCC_ClkInitTypeDef RCC_ClkInitStruct = {0};

  /** Configure the main internal regulator output voltage
  */
  HAL_PWREx_ControlVoltageScaling(PWR_REGULATOR_VOLTAGE_SCALE1);

  /** Initializes the RCC Oscillators according to the specified parameters
  * in the RCC_OscInitTypeDef structure.
  */
  RCC_OscInitStruct.OscillatorType = RCC_OSCILLATORTYPE_HSE|RCC_OSCILLATORTYPE_HSI48;
  RCC_OscInitStruct.HSEState = RCC_HSE_ON;
  RCC_OscInitStruct.HSI48State = RCC_HSI48_ON;
  RCC_OscInitStruct.PLL.PLLState = RCC_PLL_ON;
  RCC_OscInitStruct.PLL.PLLSource = RCC_PLLSOURCE_HSE;
  RCC_OscInitStruct.PLL.PLLM = RCC_PLLM_DIV1;
  RCC_OscInitStruct.PLL.PLLN = 8;
  RCC_OscInitStruct.PLL.PLLP = RCC_PLLP_DIV2;
  RCC_OscInitStruct.PLL.PLLQ = RCC_PLLQ_DIV2;
  RCC_OscInitStruct.PLL.PLLR = RCC_PLLR_DIV2;
  if (HAL_RCC_OscConfig(&RCC_OscInitStruct) != HAL_OK) {
    Error_Handler();
  }

  /** Initializes the CPU, AHB and APB buses clocks
  */
  RCC_ClkInitStruct.ClockType = RCC_CLOCKTYPE_HCLK|RCC_CLOCKTYPE_SYSCLK
                              |RCC_CLOCKTYPE_PCLK1;
  RCC_ClkInitStruct.SYSCLKSource = RCC_SYSCLKSOURCE_PLLCLK;
  RCC_ClkInitStruct.AHBCLKDivider = RCC_SYSCLK_DIV1;
  RCC_ClkInitStruct.APB1CLKDivider = RCC_HCLK_DIV1;

  if (HAL_RCC_ClockConfig(&RCC_ClkInitStruct, FLASH_LATENCY_2) != HAL_OK) {
    Error_Handler();
  }
}

static void MX_ADC1_Init(void) {

  ADC_ChannelConfTypeDef sConfig = {0};

  /** Configure the global features of the ADC (Clock, Resolution, Data Alignment and number of conversion)
  */
  hadc1.Instance = ADC1;
  hadc1.Init.ClockPrescaler = ADC_CLOCK_SYNC_PCLK_DIV2;
  hadc1.Init.Resolution = ADC_RESOLUTION_12B;
  hadc1.Init.DataAlign = ADC_DATAALIGN_RIGHT;
  hadc1.Init.ScanConvMode = ADC_SCAN_DISABLE;
  hadc1.Init.EOCSelection = ADC_EOC_SINGLE_CONV;
  hadc1.Init.LowPowerAutoWait = DISABLE;
  hadc1.Init.LowPowerAutoPowerOff = DISABLE;
  hadc1.Init.ContinuousConvMode = ENABLE;
  hadc1.Init.NbrOfConversion = 1;
  hadc1.Init.ExternalTrigConv = ADC_SOFTWARE_START;
  hadc1.Init.ExternalTrigConvEdge = ADC_EXTERNALTRIGCONVEDGE_NONE;
  hadc1.Init.DMAContinuousRequests = DISABLE;
  hadc1.Init.Overrun = ADC_OVR_DATA_PRESERVED;
  hadc1.Init.SamplingTimeCommon1 = ADC_SAMPLETIME_1CYCLE_5;
  hadc1.Init.SamplingTimeCommon2 = ADC_SAMPLETIME_1CYCLE_5;
  hadc1.Init.OversamplingMode = DISABLE;
  hadc1.Init.TriggerFrequencyMode = ADC_TRIGGER_FREQ_HIGH;
  if (HAL_ADC_Init(&hadc1) != HAL_OK) {
    Error_Handler();
  }

  /** Configure Regular Channel
  */
  sConfig.Channel = ADC_CHANNEL_0;
  sConfig.Rank = ADC_REGULAR_RANK_1;
  sConfig.SamplingTime = ADC_SAMPLINGTIME_COMMON_1;
  if (HAL_ADC_ConfigChannel(&hadc1, &sConfig) != HAL_OK) {
    Error_Handler();
  }

}

static void MX_FDCAN1_Init(void) {

  hfdcan1.Instance = FDCAN1;
  hfdcan1.Init.ClockDivider = FDCAN_CLOCK_DIV1;
  hfdcan1.Init.FrameFormat = FDCAN_FRAME_CLASSIC;
  hfdcan1.Init.Mode = FDCAN_MODE_NORMAL;
  hfdcan1.Init.AutoRetransmission = ENABLE;
  hfdcan1.Init.TransmitPause = DISABLE;
  hfdcan1.Init.ProtocolException = DISABLE;
  hfdcan1.Init.NominalPrescaler = 1;
  hfdcan1.Init.NominalSyncJumpWidth = 31;
  hfdcan1.Init.NominalTimeSeg1 = 54;
  hfdcan1.Init.NominalTimeSeg2 = 9;
  hfdcan1.Init.DataPrescaler = 1;
  hfdcan1.Init.DataSyncJumpWidth = 1;
  hfdcan1.Init.DataTimeSeg1 = 32;
  hfdcan1.Init.DataTimeSeg2 = 3;
  hfdcan1.Init.StdFiltersNbr = 0;
  hfdcan1.Init.ExtFiltersNbr = 2;
  hfdcan1.Init.TxFifoQueueMode = FDCAN_TX_FIFO_OPERATION;
  if (HAL_FDCAN_Init(&hfdcan1) != HAL_OK) {
    Error_Handler();
  }
  /* USER CODE BEGIN FDCAN1_Init 2 */
  FDCAN_FilterTypeDef sFilterConfig;

  sFilterConfig.IdType = FDCAN_EXTENDED_ID;
  sFilterConfig.FilterIndex = 0;
  sFilterConfig.FilterType = FDCAN_FILTER_RANGE;
  sFilterConfig.FilterConfig = FDCAN_FILTER_TO_RXFIFO0;

  // Calculate the range for manufacturer 17, device type 10
  uint32_t baseFilterId = (17 << 24) | (10 << 16);              // Manufacturer 17, Device Type 10
  sFilterConfig.FilterID1 = baseFilterId;                        // Start of range
  sFilterConfig.FilterID2 = baseFilterId | 0x0000FFFF;          // End of range (all API IDs and device IDs)

if (HAL_FDCAN_ConfigFilter(&hfdcan1, &sFilterConfig) != HAL_OK) {
    Error_Handler();
}

	sFilterConfig.FilterID1 = 0xA110000;  // Base ID
	sFilterConfig.FilterID2 = 0xA11FFFF;  // Much wider range to catch all API IDs

	//sFilterConfig.RxBufferIndex = 0;
	if (HAL_FDCAN_ConfigFilter(&hfdcan1, &sFilterConfig) != HAL_OK) {
		/* Filter configuration Error */
		Error_Handler();
	}

	FDCAN_FilterTypeDef sFilterConfig2;

	sFilterConfig2.IdType = FDCAN_EXTENDED_ID;
	sFilterConfig2.FilterIndex = 1;
	sFilterConfig2.FilterType = FDCAN_FILTER_DUAL;

	sFilterConfig2.FilterConfig = FDCAN_FILTER_TO_RXFIFO0;

	sFilterConfig2.FilterID1 = ROBORIO_CAN_ID;
	sFilterConfig2.FilterID2 = 0x0;
	if (HAL_FDCAN_ConfigFilter(&hfdcan1, &sFilterConfig2) != HAL_OK) {
		/* Filter configuration Error */
		Error_Handler();
	}

	// everything
	// if (HAL_FDCAN_ConfigGlobalFilter(&hfdcan1, FDCAN_REJECT, FDCAN_ACCEPT_IN_RX_FIFO0,
	// 	                                                     FDCAN_REJECT_REMOTE,
	// 														 FDCAN_REJECT_REMOTE) != HAL_OK)
	// {
	// 	Error_Handler();
	// }

	if (HAL_FDCAN_ConfigGlobalFilter(&hfdcan1, FDCAN_REJECT, FDCAN_REJECT,
									FDCAN_REJECT_REMOTE, FDCAN_REJECT_REMOTE) != HAL_OK) {
		Error_Handler();
	}

  /* USER CODE END FDCAN1_Init 2 */

}

static void MX_I2C1_Init(void){

  hi2c1.Instance = I2C1;
  hi2c1.Init.Timing = 0x00C12166;
  hi2c1.Init.OwnAddress1 = 0;
  hi2c1.Init.AddressingMode = I2C_ADDRESSINGMODE_7BIT;
  hi2c1.Init.DualAddressMode = I2C_DUALADDRESS_DISABLE;
  hi2c1.Init.OwnAddress2 = 0;
  hi2c1.Init.OwnAddress2Masks = I2C_OA2_NOMASK;
  hi2c1.Init.GeneralCallMode = I2C_GENERALCALL_DISABLE;
  hi2c1.Init.NoStretchMode = I2C_NOSTRETCH_DISABLE;
  if (HAL_I2C_Init(&hi2c1) != HAL_OK) {
    Error_Handler();
  }

  /** Configure Analogue filter
  */
  if (HAL_I2CEx_ConfigAnalogFilter(&hi2c1, I2C_ANALOGFILTER_ENABLE) != HAL_OK) {
    Error_Handler();
  }

  /** Configure Digital filter
  */
  if (HAL_I2CEx_ConfigDigitalFilter(&hi2c1, 0) != HAL_OK) {
    Error_Handler();
  }

}

static void MX_SPI1_Init(void) {

  /* SPI1 parameter configuration*/
  hspi1.Instance = SPI1;
  hspi1.Init.Mode = SPI_MODE_MASTER;
  hspi1.Init.Direction = SPI_DIRECTION_2LINES;
  hspi1.Init.DataSize = SPI_DATASIZE_8BIT;
  hspi1.Init.CLKPolarity = SPI_POLARITY_HIGH;
  hspi1.Init.CLKPhase = SPI_PHASE_2EDGE;
  hspi1.Init.NSS = SPI_NSS_HARD_OUTPUT;
  hspi1.Init.BaudRatePrescaler = SPI_BAUDRATEPRESCALER_32;
  hspi1.Init.FirstBit = SPI_FIRSTBIT_MSB;
  hspi1.Init.TIMode = SPI_TIMODE_DISABLE;
  hspi1.Init.CRCCalculation = SPI_CRCCALCULATION_DISABLE;
  hspi1.Init.CRCPolynomial = 7;
  hspi1.Init.CRCLength = SPI_CRC_LENGTH_DATASIZE;
  hspi1.Init.NSSPMode = SPI_NSS_PULSE_DISABLE;
  if (HAL_SPI_Init(&hspi1) != HAL_OK) {
    Error_Handler();
  }

}

static void MX_SPI2_Init(void) {

  /* USER CODE BEGIN SPI2_Init 0 */
	// Non encoder IC IO
  /* USER CODE END SPI2_Init 0 */

  /* SPI2 parameter configuration*/
  hspi2.Instance = SPI2;
  hspi2.Init.Mode = SPI_MODE_MASTER;
  hspi2.Init.Direction = SPI_DIRECTION_2LINES;
  hspi2.Init.DataSize = SPI_DATASIZE_8BIT;
  hspi2.Init.CLKPolarity = SPI_POLARITY_HIGH;
  hspi2.Init.CLKPhase = SPI_PHASE_2EDGE;
  hspi2.Init.NSS = SPI_NSS_SOFT;
  hspi2.Init.BaudRatePrescaler = SPI_BAUDRATEPRESCALER_128;
  hspi2.Init.FirstBit = SPI_FIRSTBIT_MSB;
  hspi2.Init.TIMode = SPI_TIMODE_DISABLE;
  hspi2.Init.CRCCalculation = SPI_CRCCALCULATION_DISABLE;
  hspi2.Init.CRCPolynomial = 7;
  hspi2.Init.CRCLength = SPI_CRC_LENGTH_DATASIZE;
  hspi2.Init.NSSPMode = SPI_NSS_PULSE_DISABLE;
  if (HAL_SPI_Init(&hspi2) != HAL_OK) {
    Error_Handler();
  }

}

static void MX_TIM2_Init(void) {

  TIM_MasterConfigTypeDef sMasterConfig = {0};
  TIM_OC_InitTypeDef sConfigOC = {0};

  htim2.Instance = TIM2;
  htim2.Init.Prescaler = 1600-1;
  htim2.Init.CounterMode = TIM_COUNTERMODE_UP;
  htim2.Init.Period = 255-1;
  htim2.Init.ClockDivision = TIM_CLOCKDIVISION_DIV1;
  htim2.Init.AutoReloadPreload = TIM_AUTORELOAD_PRELOAD_DISABLE;
  if (HAL_TIM_PWM_Init(&htim2) != HAL_OK) {
    Error_Handler();
  }
  sMasterConfig.MasterOutputTrigger = TIM_TRGO_RESET;
  sMasterConfig.MasterSlaveMode = TIM_MASTERSLAVEMODE_DISABLE;
  if (HAL_TIMEx_MasterConfigSynchronization(&htim2, &sMasterConfig) != HAL_OK) {
    Error_Handler();
  }
  sConfigOC.OCMode = TIM_OCMODE_PWM1;
  sConfigOC.Pulse = 0;
  sConfigOC.OCPolarity = TIM_OCPOLARITY_HIGH;
  sConfigOC.OCFastMode = TIM_OCFAST_DISABLE;
  if (HAL_TIM_PWM_ConfigChannel(&htim2, &sConfigOC, TIM_CHANNEL_4) != HAL_OK) {
    Error_Handler();
  }
  HAL_TIM_MspPostInit(&htim2);

}

static void MX_TIM3_Init(void) {

  TIM_ClockConfigTypeDef sClockSourceConfig = {0};
  TIM_MasterConfigTypeDef sMasterConfig = {0};
  TIM_OC_InitTypeDef sConfigOC = {0};

  htim3.Instance = TIM3;
  htim3.Init.Prescaler = 1600-1;
  htim3.Init.CounterMode = TIM_COUNTERMODE_UP;
  htim3.Init.Period = 255-1;
  htim3.Init.ClockDivision = TIM_CLOCKDIVISION_DIV1;
  htim3.Init.AutoReloadPreload = TIM_AUTORELOAD_PRELOAD_DISABLE;
  if (HAL_TIM_Base_Init(&htim3) != HAL_OK) {
    Error_Handler();
  }
  sClockSourceConfig.ClockSource = TIM_CLOCKSOURCE_INTERNAL;
  if (HAL_TIM_ConfigClockSource(&htim3, &sClockSourceConfig) != HAL_OK) {
    Error_Handler();
  }
  if (HAL_TIM_PWM_Init(&htim3) != HAL_OK) {
    Error_Handler();
  }
  sMasterConfig.MasterOutputTrigger = TIM_TRGO_RESET;
  sMasterConfig.MasterSlaveMode = TIM_MASTERSLAVEMODE_DISABLE;
  if (HAL_TIMEx_MasterConfigSynchronization(&htim3, &sMasterConfig) != HAL_OK) {
    Error_Handler();
  }
  sConfigOC.OCMode = TIM_OCMODE_PWM1;
  sConfigOC.Pulse = 0;
  sConfigOC.OCPolarity = TIM_OCPOLARITY_HIGH;
  sConfigOC.OCFastMode = TIM_OCFAST_DISABLE;
  if (HAL_TIM_PWM_ConfigChannel(&htim3, &sConfigOC, TIM_CHANNEL_3) != HAL_OK) {
    Error_Handler();
  }
  HAL_TIM_MspPostInit(&htim3);

}

static void MX_TIM4_Init(void) {

  TIM_ClockConfigTypeDef sClockSourceConfig = {0};
  TIM_MasterConfigTypeDef sMasterConfig = {0};
  TIM_OC_InitTypeDef sConfigOC = {0};

  htim4.Instance = TIM4;
  htim4.Init.Prescaler = 1600-1;
  htim4.Init.CounterMode = TIM_COUNTERMODE_UP;
  htim4.Init.Period = 255-1;
  htim4.Init.ClockDivision = TIM_CLOCKDIVISION_DIV1;
  htim4.Init.AutoReloadPreload = TIM_AUTORELOAD_PRELOAD_DISABLE;
  if (HAL_TIM_Base_Init(&htim4) != HAL_OK) {
    Error_Handler();
  }
  sClockSourceConfig.ClockSource = TIM_CLOCKSOURCE_INTERNAL;
  if (HAL_TIM_ConfigClockSource(&htim4, &sClockSourceConfig) != HAL_OK) {
    Error_Handler();
  }
  if (HAL_TIM_PWM_Init(&htim4) != HAL_OK) {
    Error_Handler();
  }
  sMasterConfig.MasterOutputTrigger = TIM_TRGO_RESET;
  sMasterConfig.MasterSlaveMode = TIM_MASTERSLAVEMODE_DISABLE;
  if (HAL_TIMEx_MasterConfigSynchronization(&htim4, &sMasterConfig) != HAL_OK) {
    Error_Handler();
  }
  sConfigOC.OCMode = TIM_OCMODE_PWM1;
  sConfigOC.Pulse = 0;
  sConfigOC.OCPolarity = TIM_OCPOLARITY_HIGH;
  sConfigOC.OCFastMode = TIM_OCFAST_DISABLE;
  if (HAL_TIM_PWM_ConfigChannel(&htim4, &sConfigOC, TIM_CHANNEL_4) != HAL_OK) {
    Error_Handler();
  }
  HAL_TIM_MspPostInit(&htim4);

}

static void MX_USB_DRD_FS_PCD_Init(void) {

  hpcd_USB_DRD_FS.Instance = USB_DRD_FS;
  hpcd_USB_DRD_FS.Init.dev_endpoints = 8;
  hpcd_USB_DRD_FS.Init.Host_channels = 8;
  hpcd_USB_DRD_FS.Init.speed = PCD_SPEED_FULL;
  hpcd_USB_DRD_FS.Init.phy_itface = PCD_PHY_EMBEDDED;
  hpcd_USB_DRD_FS.Init.Sof_enable = DISABLE;
  hpcd_USB_DRD_FS.Init.low_power_enable = DISABLE;
  hpcd_USB_DRD_FS.Init.lpm_enable = DISABLE;
  hpcd_USB_DRD_FS.Init.battery_charging_enable = DISABLE;
  hpcd_USB_DRD_FS.Init.vbus_sensing_enable = DISABLE;
  hpcd_USB_DRD_FS.Init.bulk_doublebuffer_enable = DISABLE;
  hpcd_USB_DRD_FS.Init.iso_singlebuffer_enable = DISABLE;
  if (HAL_PCD_Init(&hpcd_USB_DRD_FS) != HAL_OK){
    Error_Handler();
  }

}

static void MX_GPIO_Init(void) {
  GPIO_InitTypeDef GPIO_InitStruct = {0};

  /* GPIO Ports Clock Enable */
  __HAL_RCC_GPIOF_CLK_ENABLE();
  __HAL_RCC_GPIOA_CLK_ENABLE();
  __HAL_RCC_GPIOB_CLK_ENABLE();
  __HAL_RCC_GPIOD_CLK_ENABLE();

  /*Configure GPIO pin Output Level */
  HAL_GPIO_WritePin(GPIOB, CAL_EN_Pin|GPIO_PIN_12|CAN_NSTANDBY_Pin|CAN_ENABLE_Pin, GPIO_PIN_RESET);

  /*Configure GPIO pins : CAL_EN_Pin PB12 CAN_NSTANDBY_Pin CAN_ENABLE_Pin */
  GPIO_InitStruct.Pin = CAL_EN_Pin|GPIO_PIN_12|CAN_NSTANDBY_Pin|CAN_ENABLE_Pin;
  GPIO_InitStruct.Mode = GPIO_MODE_OUTPUT_PP;
  GPIO_InitStruct.Pull = GPIO_NOPULL;
  GPIO_InitStruct.Speed = GPIO_SPEED_FREQ_LOW;
  HAL_GPIO_Init(GPIOB, &GPIO_InitStruct);

  /*Configure GPIO pin : CAN_NERROR_Pin */
  GPIO_InitStruct.Pin = CAN_NERROR_Pin;
  GPIO_InitStruct.Mode = GPIO_MODE_INPUT;
  GPIO_InitStruct.Pull = GPIO_NOPULL;
  HAL_GPIO_Init(CAN_NERROR_GPIO_Port, &GPIO_InitStruct);

}

/* USER CODE BEGIN 4 */

//-----------------------------------------------------------------------------------------------
// Helper Functions
//-----------------------------------------------------------------------------------------------

/**
 * @brief Update encoder direction from CAN command
 */
void set_encoder_direction_with_flash(uint8_t direction) {
    flash_set_encoder_direction(direction);
    set_encoder_direction(direction);  // Update runtime setting
}

/**
 * @brief Update position offset from CAN command
 */
void set_position_offset_with_flash(int64_t offset) {
    flash_set_position_offset(offset);
    set_counts(offset);  // Update runtime position
}

/**
 * @brief Get current filter settings for runtime use
 */
void get_current_filter_settings(float* vel_alpha, float* acc_alpha) {
    if (vel_alpha) *vel_alpha = flash_get_velocity_alpha();
    if (acc_alpha) *acc_alpha = flash_get_accel_alpha();
}

/**
 * @brief Update filter settings from external source (CAN, USB, etc.)
 */
HAL_StatusTypeDef update_filter_settings_safe(float vel_alpha, float acc_alpha) {
    // Validate ranges
    if (vel_alpha < 0.0f || vel_alpha > 1.0f || acc_alpha < 0.0f || acc_alpha > 1.0f) {
        return HAL_ERROR;
    }

    // Update both settings
    HAL_StatusTypeDef status1 = flash_set_velocity_alpha(vel_alpha);
    HAL_StatusTypeDef status2 = flash_set_accel_alpha(acc_alpha);

    return (status1 == HAL_OK && status2 == HAL_OK) ? HAL_OK : HAL_ERROR;
}

//-----------------------------------------------------------------------------------------------
// Header Configuration Functions
//-----------------------------------------------------------------------------------------------
void txHeaderConfigure(FDCAN_TxHeaderTypeDef* header) {
    header->IdType = FDCAN_EXTENDED_ID;
    header->TxFrameType = FDCAN_DATA_FRAME;
    header->DataLength = FDCAN_DLC_BYTES_8;
    header->ErrorStateIndicator = FDCAN_ESI_ACTIVE;
    header->BitRateSwitch = FDCAN_BRS_OFF;
    header->FDFormat = FDCAN_CLASSIC_CAN;
    header->TxEventFifoControl = FDCAN_NO_TX_EVENTS;
    header->MessageMarker = 0;
}

/**
 * @brief Configure RX header for receiving CAN messages
 * @param header Pointer to the RX header structure to configure
 * @note This function sets up the expected format for incoming messages
 */
void rxHeaderConfigure(FDCAN_RxHeaderTypeDef* header) {
    header->IdType = FDCAN_EXTENDED_ID;
    header->RxFrameType = FDCAN_DATA_FRAME;
    header->ErrorStateIndicator = FDCAN_ESI_ACTIVE;
    header->BitRateSwitch = FDCAN_BRS_OFF;
    header->FDFormat = FDCAN_CLASSIC_CAN;
}

void txHeaderConfigureBooleanStatus(FDCAN_TxHeaderTypeDef* header) {
    header->IdType = FDCAN_EXTENDED_ID;
    header->TxFrameType = FDCAN_DATA_FRAME;
    header->DataLength = FDCAN_DLC_BYTES_1;
    header->ErrorStateIndicator = FDCAN_ESI_ACTIVE;
    header->BitRateSwitch = FDCAN_BRS_OFF;
    header->FDFormat = FDCAN_CLASSIC_CAN;
    header->TxEventFifoControl = FDCAN_NO_TX_EVENTS;
    header->MessageMarker = 0;
}

/* USER CODE END 4 */

void Error_Handler(void) {
  /* USER CODE BEGIN Error_Handler_Debug */
	uint32_t elapsed_time = 0;  // Track elapsed time in milliseconds

	while (1) {
		// Blink the LED
		set_led_rgb(255, 0, 0);
		HAL_Delay(500);

		set_led_rgb(0, 0, 0);
		HAL_Delay(500);

		// Increment elapsed time
		elapsed_time += 1000; // 500ms + 500ms per loop iteration

		// Reset the chip after 10 seconds (10,000 milliseconds)
		if (elapsed_time >= 10000) {
			// Trigger a system reset
			NVIC_SystemReset();
		}
	}
	/* User can add his own implementation to report the HAL error return state */
//	__disable_irq();
//	while (1) {
//
//	}
  /* USER CODE END Error_Handler_Debug */
}
